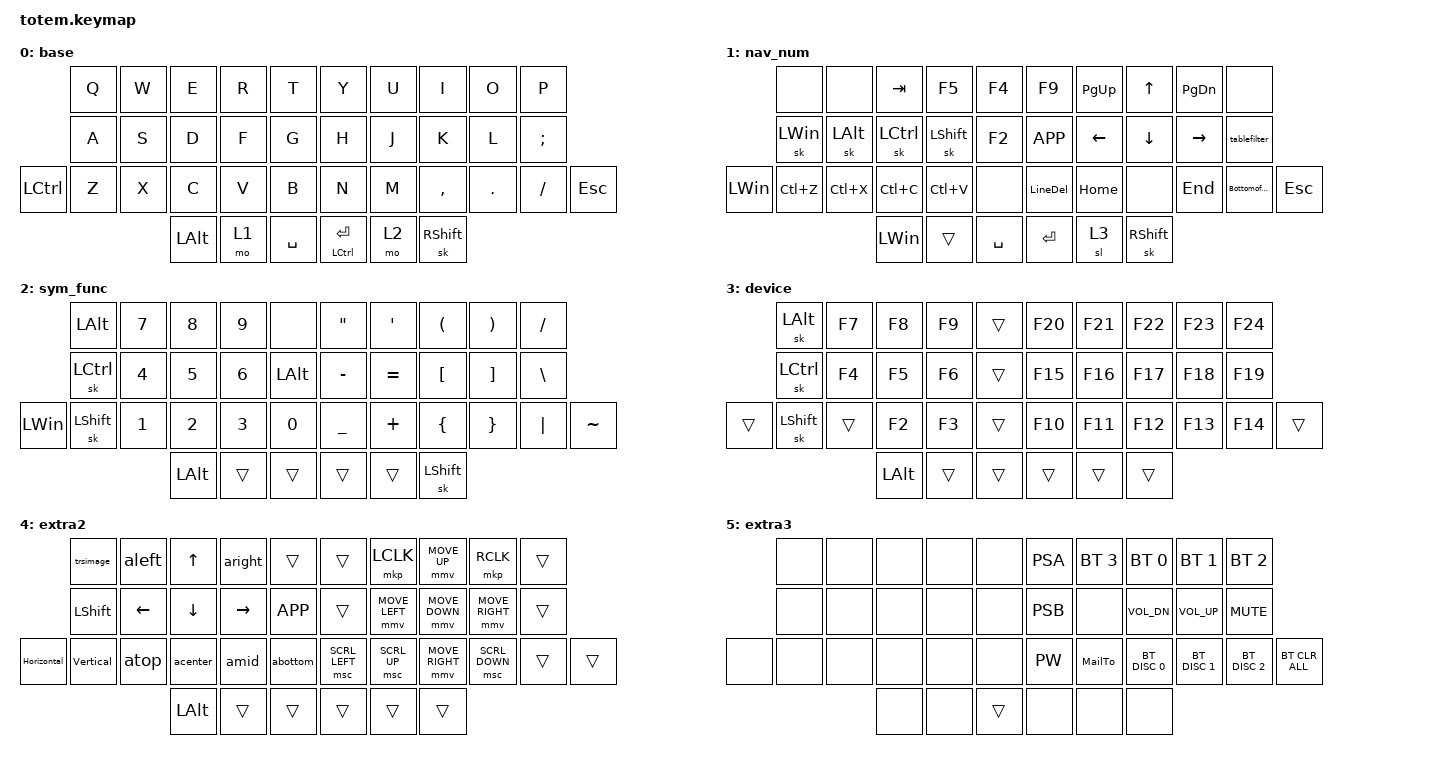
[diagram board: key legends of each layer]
//
//                                                        ▀▀▀▀▀     ▀▀▀▀▀          ▀▀█▀▀
//                                                        ▄▀▀▀▄  ▄  ▄▀▀▀▄  ▄  ▄▀▀▀▄  █  ▄▀▀▀▄
//                                                        █   █  █  █   █  █  █   █  █  █   █
//                                                         ▀▀▀   █   ▀▀▀   █   ▀▀▀   ▀   ▀▀▀
//                                                               █      ▄▄▄█▄▄▄    █   █  
//                                                               ▀      █  █  █     █▄█
//                                                             ▀▀▀▀▀    █  █  █      ▀
//                                                                      ▀  ▀  ▀
//
// ▄▄▄▄▄▄▄▄▄▄▄▄▄▄▄▄▄▄▄▄▄▄▄▄▄▄▄▄▄▄▄▄▄▄▄▄▄▄▄▄▄▄▄▄▄▄▄▄▄▄▄▄▄▄▄▄▄▄▄▄▄▄▄▄▄▄▄▄▄▄▄▄▄▄▄▄▄▄▄▄▄▄▄▄▄▄▄▄▄▄▄▄▄▄▄▄▄▄▄▄▄▄▄▄▄▄▄▄▄▄▄▄▄▄▄▄▄▄▄▄▄▄▄▄▄▄▄▄▄▄▄▄▄▄▄▄▄▄▄▄▄▄▄▄▄▄▄▄▄

#include <behaviors.dtsi>
#include <dt-bindings/zmk/bt.h>
#include <dt-bindings/zmk/keys.h>
#include <dt-bindings/zmk/pointing.h>

/ {
    combos {
        compatible = "zmk,combos";

        backspace {
            bindings = <&kp BACKSPACE>;
            key-positions = <16 17>;
        };

        delete {
            bindings = <&kp DELETE>;
            key-positions = <28 27>;
        };

        alttab {
            bindings = <&kp LC(TAB)>;
            key-positions = <2 12>;
        };

        ctrlshift {
            bindings = <&kp LC(LEFT_SHIFT)>;
            key-positions = <10 21>;
        };

        btcon {
            bindings = <&mo 5>;
            key-positions = <4 20>;
        };

        layer2 {
            bindings = <&mo 2>;
            key-positions = <32 33>;
        };

        layer5 {
            bindings = <&mo 4>;
            key-positions = <34 33>;
        };

        vertbackspace {
            bindings = <&kp LC(BACKSPACE)>;
            key-positions = <16 27>;
        };

        vertdelete {
            bindings = <&kp LC(DELETE)>;
            key-positions = <17 28>;
        };

        thankyouk {
            bindings = <&Thx>;
            key-positions = <10 19>;
        };

        leftdelete {
            bindings = <&kp DELETE>;
            key-positions = <23 24>;
            layers = <2 3 4 5>;
        };

        leftbackspace {
            bindings = <&kp BACKSPACE>;
            key-positions = <12 13>;
            layers = <4>;
        };

        SuperKey {
            bindings = <&kp LA(LC(LEFT_SHIFT))>;
            key-positions = <0 4>;
        };
    };

    macros {
        aleft: aleft {
            compatible = "zmk,behavior-macro";
            #binding-cells = <0>;
            bindings = <&kp LA(H) &kp G &kp A &kp L>;
            label = "ALEFT";
        };

        aright: aright {
            compatible = "zmk,behavior-macro";
            #binding-cells = <0>;
            bindings = <&kp LA(H) &kp G &kp A &kp R>;
            label = "ARIGHT";
        };

        atop: atop {
            compatible = "zmk,behavior-macro";
            #binding-cells = <0>;
            bindings = <&kp LA(H) &kp G &kp A &kp T>;
            label = "ATOP";
        };

        acenter: amiddle {
            compatible = "zmk,behavior-macro";
            #binding-cells = <0>;
            bindings = <&kp LA(H) &kp G &kp A &kp C>;
            label = "AMIDDLE";
        };

        abottom: abottom {
            compatible = "zmk,behavior-macro";
            #binding-cells = <0>;
            bindings = <&kp LA(H) &kp G &kp A &kp B>;
            label = "ABOTTOM";
        };

        trsimage: trsimage {
            compatible = "zmk,behavior-macro";
            #binding-cells = <0>;
            bindings = <&kp LA(J) &kp P &kp I &kp S>;
            label = "TRSIMAGE";
        };

        amid: amid {
            compatible = "zmk,behavior-macro";
            #binding-cells = <0>;
            bindings = <&kp LA(H) &kp G &kp A &kp M>;
            label = "AMID";
        };

        Horizontal: Horizontal {
            compatible = "zmk,behavior-macro";
            #binding-cells = <0>;
            bindings = <&kp LEFT_ALT &kp H &kp G &kp A &kp H>;
            label = "HORIZONTAL";
        };

        Vertical: Vertical {
            compatible = "zmk,behavior-macro";
            #binding-cells = <0>;
            bindings = <&kp LEFT_ALT &kp H &kp G &kp A &kp V>;
            label = "VERTICAL";
        };

        PW: PW {
            compatible = "zmk,behavior-macro";
            #binding-cells = <0>;
            bindings = <&none &kp LS(S) &kp C &kp H &kp O &kp O &kp N1 &kp N4 &kp T &kp H &kp E &kp W &kp EXCL &kp N>;
            label = "PW";
        };

        Thx: Thx {
            compatible = "zmk,behavior-macro";
            #binding-cells = <0>;
            bindings = <&none &kp LS(T) &kp H &kp A &kp N &kp K &kp SPACE &kp Y &kp O &kp U &kp COMMA &kp RET &kp LS(A) &kp N &kp D &kp R &kp E &kp W>;
            label = "THX";
        };

        LineDel: LineDel {
            compatible = "zmk,behavior-macro";
            #binding-cells = <0>;
            bindings = <&kp HOME &kp RS(END)>;
            label = "LINEDEL";
        };

        BottomofCol: BottomofCol {
            compatible = "zmk,behavior-macro";
            #binding-cells = <0>;
            bindings = <&kp LC(END) &kp HOME>;
            label = "BOTTOMOFCOL";
        };

        PSA: PSA {
            compatible = "zmk,behavior-macro";
            #binding-cells = <0>;
            bindings = <&none &kp LS(P) &kp L &kp E &kp A &kp S &kp E &kp SPACE &kp S &kp E &kp E &kp SPACE &kp A &kp T &kp T &kp A &kp C &kp H &kp E &kp D &kp SPACE &kp F &kp O &kp R &kp SPACE &kp T &kp H &kp E &kp SPACE>;
            label = "PSA";
        };

        PSB: PSB {
            compatible = "zmk,behavior-macro";
            #binding-cells = <0>;
            bindings = <&none &kp LS(P) &kp L &kp E &kp A &kp S &kp E &kp SPACE &kp S &kp E &kp E &kp SPACE &kp B &kp E &kp L &kp O &kp W &kp SPACE &kp F &kp O &kp R &kp SPACE &kp T &kp H &kp E &kp SPACE>;
            label = "PSB";
        };

        tablefilter: tablefilter {
            compatible = "zmk,behavior-macro";
            #binding-cells = <0>;
            bindings = <&kp LA(DOWN) &kp E>;
            label = "TABLEFILTER";
        };

        MailTo: MailTo {
            compatible = "zmk,behavior-macro";
            #binding-cells = <0>;
            bindings = <&sk LEFT_WIN &kp R &kp M &kp A &kp I &kp L &kp T &kp O &kp COLON &kp ENTER>;
            label = "MAILTO";
        };
    };

    keymap {
        compatible = "zmk,keymap";

        base {
            bindings = <
           &kp Q  &kp W  &kp E         &kp R  &kp T        &kp Y            &kp U  &kp I            &kp O    &kp P
           &kp A  &kp S  &kp D         &kp F  &kp G        &kp H            &kp J  &kp K            &kp L    &kp SEMI
&kp LCTRL  &kp Z  &kp X  &kp C         &kp V  &kp B        &kp N            &kp M  &kp COMMA        &kp DOT  &kp FSLH  &kp ESC
                         &kp LEFT_ALT  &mo 1  &kp SPACE    &mt LCTRL ENTER  &mo 2  &sk RIGHT_SHIFT
            >;
        };

        nav_num {
            bindings = <
              &none         &none         &kp TAB           &kp F5          &kp F4       &kp F9     &kp PG_UP  &kp UP_ARROW     &kp PG_DN        &none
              &sk LEFT_WIN  &sk LEFT_ALT  &sk LEFT_CONTROL  &sk LEFT_SHIFT  &kp F2       &kp K_APP  &kp LEFT   &kp DOWN         &kp RIGHT_ARROW  &tablefilter
&kp LEFT_WIN  &kp LC(Z)     &kp LC(X)     &kp LC(C)         &kp LC(V)       &none        &LineDel   &kp HOME   &none            &kp END          &BottomofCol  &kp ESC
                                          &kp LEFT_WIN      &trans          &kp SPACE    &kp ENTER  &sl 3      &sk RIGHT_SHIFT
            >;
        };

        sym_func {
            bindings = <
              &kp LEFT_ALT      &kp N7  &kp N8    &kp N9  &none       &kp DOUBLE_QUOTES  &kp SQT    &kp LEFT_PARENTHESIS  &kp RIGHT_PARENTHESIS  &kp SLASH
              &sk LEFT_CONTROL  &kp N4  &kp N5    &kp N6  &kp LALT    &kp MINUS          &kp EQUAL  &kp LBKT              &kp RBKT               &kp BSLH
&kp LEFT_WIN  &sk LEFT_SHIFT    &kp N1  &kp N2    &kp N3  &kp N0      &kp UNDERSCORE     &kp PLUS   &kp LEFT_BRACE        &kp RIGHT_BRACE        &kp PIPE   &kp TILDE
                                        &kp LALT  &trans  &trans      &trans             &trans     &sk LEFT_SHIFT
            >;
        };

        device {
            bindings = <
        &sk LEFT_ALT  &kp F7  &kp F8    &kp F9  &trans    &kp F20  &kp F21  &kp F22  &kp F23  &kp F24
        &sk LCTRL     &kp F4  &kp F5    &kp F6  &trans    &kp F15  &kp F16  &kp F17  &kp F18  &kp F19
&trans  &sk LSHFT     &trans  &kp F2    &kp F3  &trans    &kp F10  &kp F11  &kp F12  &kp F13  &kp F14  &trans
                              &kp LALT  &trans  &trans    &trans   &trans   &trans
            >;
        };

        extra2 {
            bindings = <
             &trsimage       &aleft    &kp UP_ARROW    &aright    &trans       &trans          &mkp LCLK       &mmv MOVE_UP     &mkp RCLK        &trans
             &kp LEFT_SHIFT  &kp LEFT  &kp DOWN_ARROW  &kp RIGHT  &kp K_APP    &trans          &mmv MOVE_LEFT  &mmv MOVE_DOWN   &mmv MOVE_RIGHT  &trans
&Horizontal  &Vertical       &atop     &acenter        &amid      &abottom     &msc SCRL_LEFT  &msc SCRL_UP    &mmv MOVE_RIGHT  &msc SCRL_DOWN   &trans  &trans
                                       &kp LALT        &trans     &trans       &trans          &trans          &trans
            >;
        };

        extra3 {
            bindings = <
       &none  &none  &none  &none  &none     &PSA   &bt BT_SEL 3  &bt BT_SEL 0   &bt BT_SEL 1   &bt BT_SEL 2
       &none  &none  &none  &none  &none     &PSB   &none         &kp C_VOL_DN   &kp C_VOL_UP   &kp C_MUTE
&none  &none  &none  &none  &none  &none     &PW    &MailTo       &bt BT_DISC 0  &bt BT_DISC 1  &bt BT_DISC 2  &bt BT_CLR_ALL
                     &none  &none  &trans    &none  &none         &none
            >;
        };
    };

    conditional_layers { compatible = "zmk,conditional-layers"; };
};
